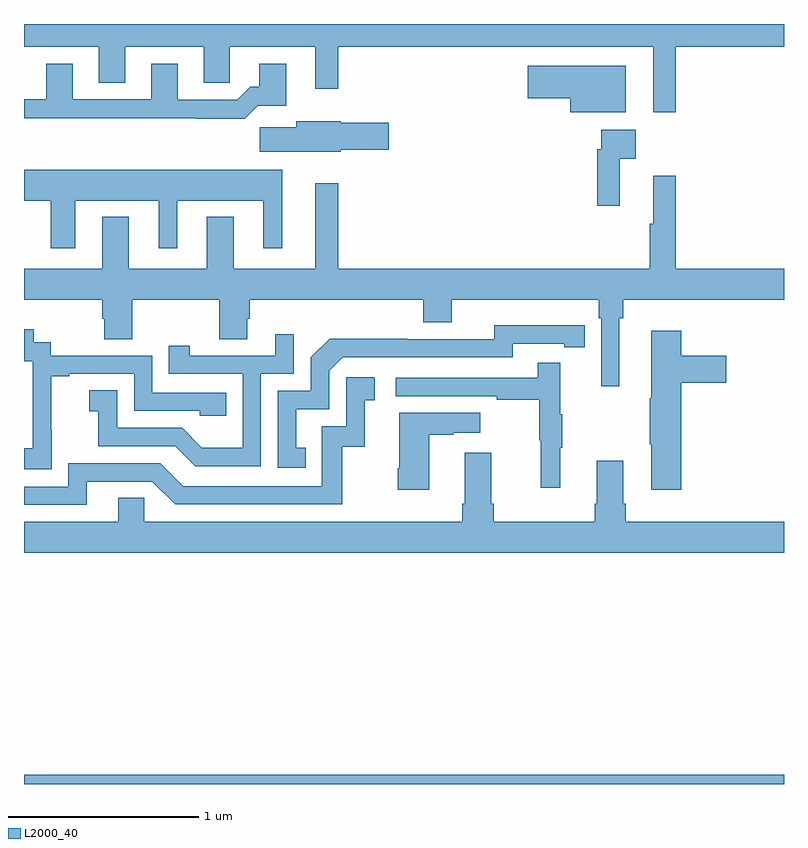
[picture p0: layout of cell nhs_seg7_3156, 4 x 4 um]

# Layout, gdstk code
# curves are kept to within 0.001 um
import gdstk
lib = gdstk.Library(unit=1e-6, precision=1e-09)
def R(c, l, rs):  # rectangles x0, y0, x1, y1
    for r in rs: c.add(gdstk.rectangle(r[:2], r[2:], *l))
def P(c, l, *ps):  # polygons
    for p in ps: c.add(gdstk.Polygon(p, *l))
L2000_40 = (2000, 40)

nhs_seg7_3156 = lib.new_cell('nhs_seg7_3156')
R(nhs_seg7_3156, L2000_40, [(311,1066,315,1066.048)])
P(nhs_seg7_3156, L2000_40, [(314.429,1069.88),(315,1069.88),(315,1070),(311,1070),(311,1069.88),(311.393,1069.88),(311.393,1069.69),(311.533,1069.69),(311.533,1069.88),(311.945,1069.88),(311.945,1069.69),(312.084,1069.69),(312.084,1069.88),(312.533,1069.88),(312.533,1069.659),(312.655,1069.659),(312.655,1069.88),(314.312,1069.88),(314.312,1069.536),(314.429,1069.536)],
  [(312.23,1069.571),(312.379,1069.571),(312.379,1069.792),(312.239,1069.792),(312.239,1069.669),(312.19,1069.669),(312.123,1069.602),(311.809,1069.602),(311.809,1069.792),(311.669,1069.792),(311.669,1069.605),(311.257,1069.605),(311.257,1069.792),(311.117,1069.792),(311.117,1069.605),(311,1069.605),(311,1069.504),(311.905,1069.504),(311.905,1069.502),(312.161,1069.502)],
  [(314.167,1069.78),(313.65,1069.78),(313.65,1069.61),(313.874,1069.61),(313.874,1069.535),(314.167,1069.535)],
  [(312.666,1069.337),(312.919,1069.337),(312.919,1069.479),(312.666,1069.479),(312.666,1069.489),(312.434,1069.489),(312.434,1069.457),(312.24,1069.457),(312.24,1069.328),(312.666,1069.328)],
  [(314.135,1069.292),(314.221,1069.292),(314.221,1069.444),(314.037,1069.444),(314.037,1069.34),(314.017,1069.34),(314.017,1069.044),(314.135,1069.044)],
  [(311.269,1069.07),(311.708,1069.07),(311.708,1068.819),(311.806,1068.819),(311.806,1069.07),(312.26,1069.07),(312.26,1068.819),(312.358,1068.819),(312.358,1069.234),(311,1069.234),(311,1069.07),(311.141,1069.07),(311.141,1068.819),(311.269,1068.819)],
  [(314.134,1068.452),(314.153,1068.452),(314.153,1068.548),(315,1068.548),(315,1068.712),(314.429,1068.712),(314.429,1069.201),(314.312,1069.201),(314.312,1068.948),(314.293,1068.948),(314.293,1068.712),(312.655,1068.712),(312.655,1069.162),(312.533,1069.162),(312.533,1068.712),(312.103,1068.712),(312.103,1068.985),(311.963,1068.985),(311.963,1068.712),(311.551,1068.712),(311.551,1068.985),(311.411,1068.985),(311.411,1068.712),(311,1068.712),(311,1068.548),(311.411,1068.548),(311.411,1068.45),(311.423,1068.45),(311.423,1068.34),(311.571,1068.34),(311.571,1068.548),(312.028,1068.548),(312.028,1068.34),(312.175,1068.34),(312.175,1068.45),(312.188,1068.45),(312.188,1068.548),(313.1,1068.548),(313.1,1068.431),(313.252,1068.431),(313.252,1068.548),(314.024,1068.548),(314.024,1068.452),(314.037,1068.452),(314.037,1068.093),(314.134,1068.093)],
  [(312.482,1067.769),(312.433,1067.769),(312.433,1067.973),(312.606,1067.973),(312.606,1068.174),(312.678,1068.246),(313.572,1068.246),(313.572,1068.318),(313.844,1068.318),(313.844,1068.298),(313.952,1068.298),(313.952,1068.414),(313.476,1068.415),(313.476,1068.342),(313.016,1068.342),(313.016,1068.344),(312.608,1068.344),(312.51,1068.246),(312.51,1068.069),(312.336,1068.069),(312.336,1067.664),(312.482,1067.664)],
  [(311.145,1067.863),(311.144,1067.863),(311.144,1068.147),(311.239,1068.147),(311.239,1068.159),(311.58,1068.159),(311.58,1067.964),(311.925,1067.964),(311.925,1067.937),(312.065,1067.937),(312.065,1068.06),(311.676,1068.06),(311.676,1068.255),(311.142,1068.255),(311.142,1068.324),(311.05,1068.324),(311.05,1068.394),(311,1068.394),(311,1068.225),(311.046,1068.225),(311.046,1067.996),(311.045,1067.996),(311.045,1067.767),(311,1067.767),(311,1067.657),(311.145,1067.657)],
  [(314.459,1068.113),(314.695,1068.113),(314.695,1068.255),(314.459,1068.255),(314.459,1068.385),(314.3,1068.385),(314.3,1068.029),(314.293,1068.029),(314.293,1067.788),(314.3,1067.788),(314.3,1067.55),(314.459,1067.55)],
  [(312.246,1068.159),(312.42,1068.159),(312.42,1068.367),(312.323,1068.367),(312.323,1068.255),(311.872,1068.255),(311.872,1068.307),(311.761,1068.307),(311.761,1068.159),(312.15,1068.159),(312.15,1067.77),(311.936,1067.77),(311.832,1067.874),(311.49,1067.874),(311.49,1068.073),(311.343,1068.073),(311.343,1067.963),(311.392,1067.963),(311.392,1067.778),(311.795,1067.778),(311.9,1067.673),(312.246,1067.673)],
  [(313.823,1067.771),(313.834,1067.771),(313.834,1067.945),(313.823,1067.945),(313.823,1068.217),(313.705,1068.217),(313.705,1068.138),(312.957,1068.138),(312.957,1068.042),(313.489,1068.042),(313.489,1068.022),(313.713,1068.022),(313.713,1067.808),(313.72,1067.808),(313.72,1067.559),(313.823,1067.559)],
  [(311.329,1067.592),(311.676,1067.592),(311.796,1067.472),(312.676,1067.472),(312.676,1067.775),(312.794,1067.775),(312.794,1068.021),(312.847,1068.021),(312.847,1068.142),(312.696,1068.142),(312.696,1067.883),(312.567,1067.883),(312.567,1067.568),(311.838,1067.568),(311.718,1067.688),(311.232,1067.688),(311.232,1067.565),(311,1067.565),(311,1067.469),(311.329,1067.469)],
  [(313.132,1067.839),(313.259,1067.839),(313.259,1067.849),(313.402,1067.849),(313.402,1067.953),(312.974,1067.953),(312.974,1067.662),(312.967,1067.662),(312.967,1067.55),(313.132,1067.55)],
  [(315,1067.38),(314.168,1067.38),(314.168,1067.476),(314.155,1067.476),(314.155,1067.701),(314.015,1067.701),(314.015,1067.476),(314.003,1067.476),(314.003,1067.38),(313.472,1067.38),(313.472,1067.476),(313.459,1067.476),(313.459,1067.743),(313.319,1067.743),(313.319,1067.476),(313.307,1067.476),(313.307,1067.38),(311.634,1067.38),(311.634,1067.507),(311.495,1067.507),(311.495,1067.38),(311,1067.38),(311,1067.216),(315,1067.216)])

lib.write_gds('nhs_seg7_3156.gds')
